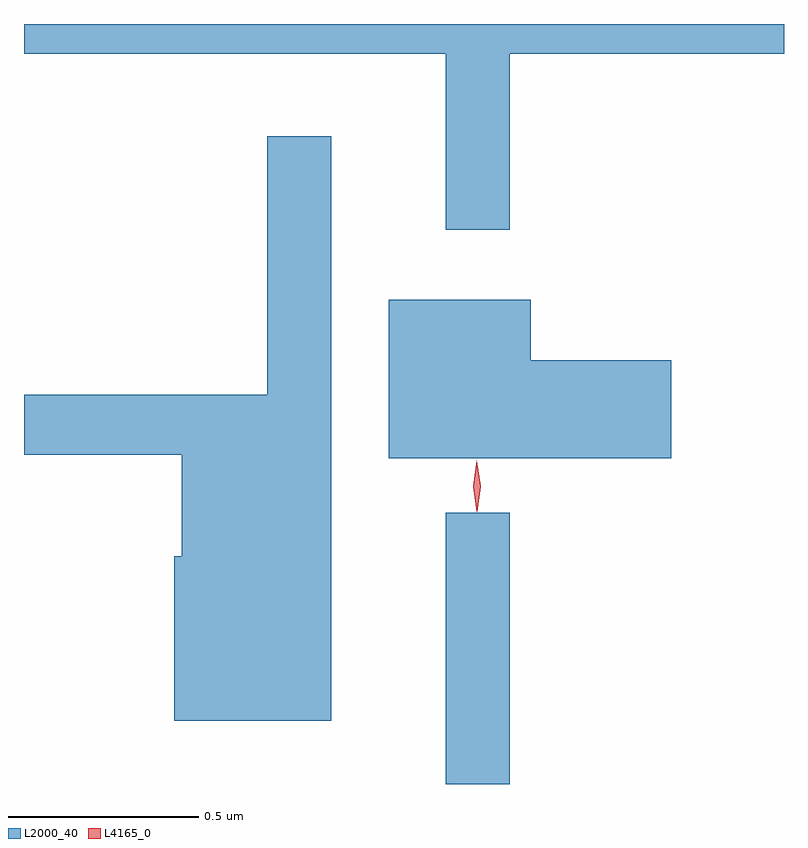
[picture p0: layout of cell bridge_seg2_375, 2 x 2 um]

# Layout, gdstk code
import gdstk
lib = gdstk.Library(unit=1e-6, precision=1e-09)
def R(c, l, rs):  # rectangles x0, y0, x1, y1
    for r in rs: c.add(gdstk.rectangle(r[:2], r[2:], *l))
def P(c, l, *ps):  # polygons
    for p in ps: c.add(gdstk.Polygon(p, *l))
L2000_40 = (2000, 40)
L4165_0 = (4165, 0)

bridge_seg2_375 = lib.new_cell('bridge_seg2_375')
R(bridge_seg2_375, L2000_40, [(440.601,1021.974,440.769,1022.688)])
P(bridge_seg2_375, L2000_40, [(440.769,1023.896),(441.491,1023.896),(441.491,1023.974),(439.491,1023.974),(439.491,1023.896),(440.601,1023.896),(440.601,1023.433),(440.769,1023.433)],
  [(440.299,1023.678),(440.131,1023.678),(440.131,1022.999),(439.491,1022.999),(439.491,1022.841),(439.906,1022.841),(439.906,1022.574),(439.886,1022.574),(439.886,1022.141),(440.299,1022.141)],
  [(441.194,1023.089),(440.824,1023.089),(440.824,1023.249),(440.451,1023.249),(440.451,1022.831),(441.194,1022.831)])
P(bridge_seg2_375, L4165_0, [(440.683,1022.69),(440.683,1022.69),(440.673,1022.758),(440.682,1022.825),(440.682,1022.826),(440.683,1022.825),(440.693,1022.758),(440.684,1022.69)],
  [(440.683,1022.693),(440.683,1022.693),(440.673,1022.756),(440.682,1022.82),(440.683,1022.82),(440.683,1022.82),(440.693,1022.756),(440.684,1022.693)])

lib.write_gds('bridge_seg2_375.gds')
